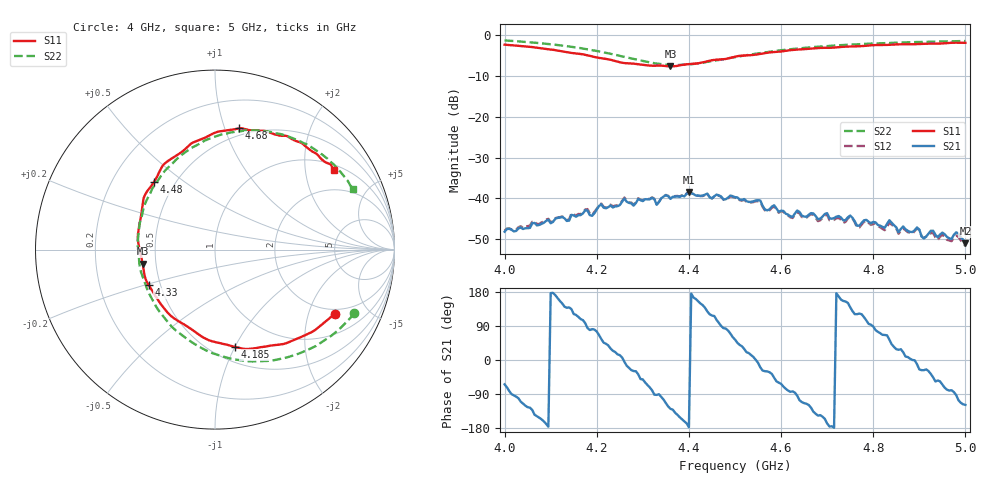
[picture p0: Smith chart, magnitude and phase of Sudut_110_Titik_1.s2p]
# Hz S RI R 50
! CMT, C1220, 16058040, 17.2.0/1
! Date: 15/08/2018 11:32:35
! Data: Format (Calibration Info)
! Freq  S11: Re/Im (F2)  S21: Re/Im (F2)  S12: Re/Im (F2)  S22: Re/Im (F2)
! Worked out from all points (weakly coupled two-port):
!   201 points, 4 GHz to 5 GHz, reference 50 ohm
!   highest |S21| = -38.44 dB at 4.4 GHz (marker M1); lowest = -51.0 dB at 5 GHz (marker M2)
!   lowest |S11| = -7.7 dB at 4.36 GHz (marker M3), VSWR 2.39, Z = 21.1 - j4.01 ohm
!   |S11| at or under -10 dB: nowhere
!   |S22| runs from -7.4 to -1.4 dB; largest |S21 - S12| = 0.00041
!   S11 on the Smith chart (normalised r, x): 4 GHz: 1.80, -3.00; 4.185 GHz: 0.64, -1.00; 4.33 GHz: 0.43, -0.21; 4.48 GHz: 0.38, +0.39; 4.68 GHz: 0.44, +1.12; 5 GHz: 1.17, +2.85
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4e9  0.6672 -0.3564  0.0017 -0.00354  0.00193 -0.00356  0.7744 -0.3553
4.17e9  0.1619 -0.5531  -0.00171 0.00634  -0.00184 0.00649  0.274 -0.621
4.185e9  0.1091 -0.542  0.00117 0.00614  0.00109 0.00644  0.2096 -0.6231
4.26e9  -0.1731 -0.4162  0.0099 -0.000851  0.0102 -0.000926  -0.1189 -0.5229
4.33e9  -0.3699 -0.1979  -0.000302 -0.00838  -0.000431 -0.00843  -0.3552 -0.2684
4.335e9  -0.3798 -0.1804  -6.86e-05 -0.00906  -0.000173 -0.00909  -0.3672 -0.2449
4.36e9  -0.4028 -0.0792  -0.00619 -0.00769  -0.0063 -0.00774  -0.4121 -0.1255
4.4e9  -0.4292 0.0863  -0.012 -0.000552  -0.012 -0.000258  -0.4278 0.075
4.48e9  -0.3412 0.3749  0.00121 0.00971  0.00143 0.00954  -0.3013 0.4104
4.5e9  -0.3039 0.4451  0.00611 0.00839  0.00607 0.00815  -0.2463 0.4715
4.625e9  0.0034 0.6524  0.000752 -0.00591  0.000626 -0.00573  0.126 0.6577
4.67e9  0.1141 0.671  -0.00474 -0.00453  -0.00464 -0.00425  0.2486 0.663
4.68e9  0.1328 0.6754  -0.00467 -0.00307  -0.00443 -0.00287  0.2733 0.6597
4.75e9  0.2895 0.6579  -0.00468 0.00403  -0.00463 0.00386  0.4334 0.6201
4.765e9  0.3219 0.6457  -0.00239 0.00397  -0.0022 0.0038  0.4625 0.6094
4.785e9  0.3704 0.6339  -0.00136 0.0053  -0.00138 0.00515  0.5012 0.5906
4.825e9  0.4272 0.6165  0.00178 0.004  0.00172 0.00371  0.568 0.5498
4.835e9  0.4459 0.607  0.0032 0.00437  0.00292 0.00412  0.5827 0.539
4.855e9  0.4779 0.5964  0.00346 0.00176  0.00326 0.00176  0.6128 0.5169
4.97e9  0.6395 0.4774  0.000566 -0.00315  0.000505 -0.00296  0.7434 0.3769
4.98e9  0.6463 0.4719  -0.00017 -0.00385  -0.000237 -0.00352  0.7508 0.3624
5e9  0.6613 0.4446  -0.00135 -0.00249  -0.00113 -0.00235  0.7688 0.3358
